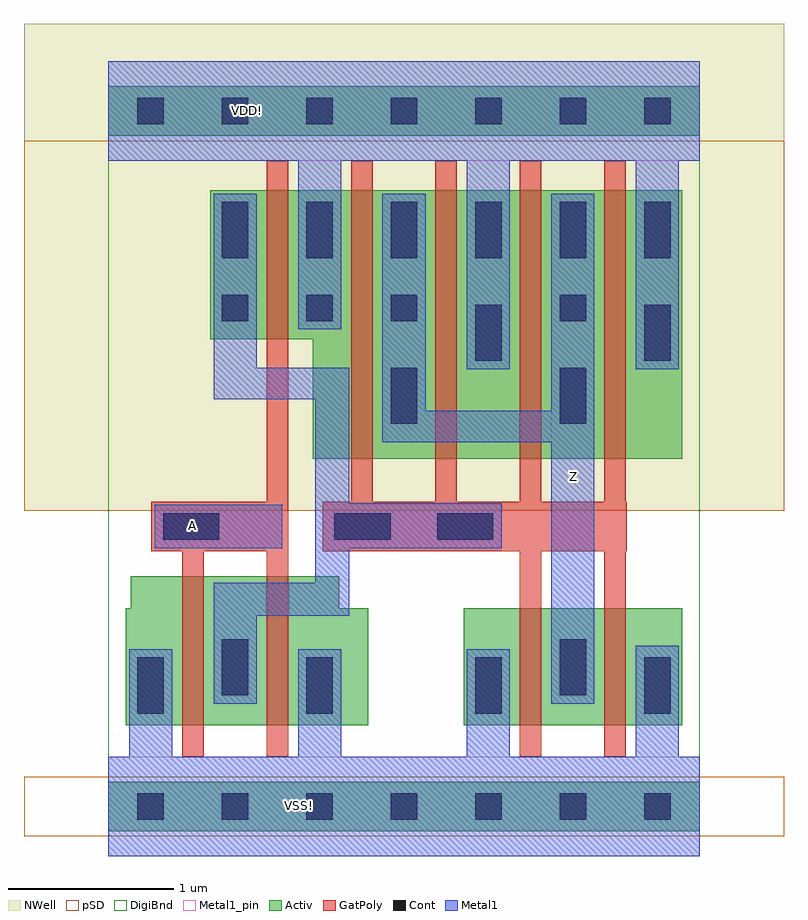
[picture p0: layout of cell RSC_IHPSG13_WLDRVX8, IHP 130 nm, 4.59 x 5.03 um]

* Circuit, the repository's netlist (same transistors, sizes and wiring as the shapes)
************************************************************************
* 
* Copyright 2023 IHP PDK Authors
* 
* Licensed under the Apache License, Version 2.0 (the "License");
* you may not use this file except in compliance with the License.
* You may obtain a copy of the License at
* 
*    https://www.apache.org/licenses/LICENSE-2.0
* 
* Unless required by applicable law or agreed to in writing, software
* distributed under the License is distributed on an "AS IS" BASIS,
* WITHOUT WARRANTIES OR CONDITIONS OF ANY KIND, either express or implied.
* See the License for the specific language governing permissions and
* limitations under the License.
* 
************************************************************************

* Context fixture: selected source subcircuits; boundary name mapped to GDS.
.SUBCKT RSC_IHPSG13_WLDRVX8 A Z VDD VSS
MN1 Z net6 VSS VSS sg13_lv_nmos m=1 w=1.41u l=130.00n ng=2 nrd=0 nrs=0
MN0 net6 A VSS VSS sg13_lv_nmos m=1 w=1.8u l=130.00n ng=2 nrd=0 nrs=0
MP1 Z net6 VDD VDD sg13_lv_pmos m=1 w=6.48u l=130.00n ng=4 nrd=0 nrs=0
MP0 net6 A VDD VDD sg13_lv_pmos m=1 w=900.0n l=130.00n ng=1 nrd=0 nrs=0
.ENDS

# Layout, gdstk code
import gdstk
lib = gdstk.Library(unit=1e-6, precision=1e-09)
def R(c, l, rs):  # rectangles x0, y0, x1, y1
    for r in rs: c.add(gdstk.rectangle(r[:2], r[2:], *l))
def A(c, l, x, y, w, h, nx, ny, dx, dy):  # array of equal rectangles
    R(c, l, [(x+i*dx, y+j*dy, x+i*dx+w, y+j*dy+h) for i in range(nx) for j in range(ny)])
def P(c, l, *ps):  # polygons
    for p in ps: c.add(gdstk.Polygon(p, *l))
Activ = (1, 0)
GatPoly = (5, 0)
Cont = (6, 0)
Metal1 = (8, 0)
Metal1_pin = (8, 2)
pSD = (14, 0)
DigiBnd = (16, 0)
NWell = (31, 0)

rsc_ihpsg13_wldrvx8 = lib.new_cell('RSC_IHPSG13_WLDRVX8')
R(rsc_ihpsg13_wldrvx8, Activ, [(0,-0.15,3.57,0.15), (2.145,0.49,3.465,1.195), (0,4.05,3.57,4.35)])
P(rsc_ihpsg13_wldrvx8, Activ, [(0.105,0.49),(0.105,1.195),(0.135,1.195),(0.135,1.39),(1.395,1.39),(1.395,1.195),(1.57,1.195),(1.57,0.49)],
  [(1.235,2.1),(1.235,2.82),(0.615,2.82),(0.615,3.72),(3.465,3.72),(3.465,2.1)])
P(rsc_ihpsg13_wldrvx8, GatPoly, [(2.485,0.3),(2.485,1.54),(1.295,1.54),(1.295,1.84),(1.465,1.84),(1.465,3.9),(1.595,3.9),(1.595,1.84),(1.975,1.84),(1.975,3.9),(2.105,3.9),(2.105,1.84),(2.485,1.84),(2.485,3.9),(2.615,3.9),(2.615,1.84),(2.995,1.84),(2.995,3.9),(3.125,3.9),(3.125,1.84),(3.13,1.84),(3.13,1.54),(3.125,1.54),(3.125,0.3),(2.995,0.3),(2.995,1.54),(2.615,1.54),(2.615,0.3)],
  [(0.445,0.3),(0.445,1.54),(0.26,1.54),(0.26,1.84),(0.955,1.84),(0.955,3.9),(1.085,3.9),(1.085,0.3),(0.955,0.3),(0.955,1.54),(0.575,1.54),(0.575,0.3)])
A(rsc_ihpsg13_wldrvx8, Cont, 0.175, -0.08, 0.16, 0.16, 7, 2, 0.51, 4.2)
A(rsc_ihpsg13_wldrvx8, Cont, 0.175, 0.56, 0.16, 0.34, 4, 1, 1.02, 0)
A(rsc_ihpsg13_wldrvx8, Cont, 0.685, 2.93, 0.16, 0.16, 3, 1, 0.51, 0)
A(rsc_ihpsg13_wldrvx8, Cont, 0.685, 3.31, 0.16, 0.34, 6, 1, 0.51, 0)
R(rsc_ihpsg13_wldrvx8, Cont, [(0.685,0.67,0.845,1.01), (2.725,0.67,2.885,1.01), (0.33,1.61,0.67,1.77), (1.365,1.61,1.705,1.77), (1.985,1.61,2.325,1.77), (1.705,2.31,1.865,2.65), (2.725,2.31,2.885,2.65), (2.215,2.69,2.375,3.03), (3.235,2.69,3.395,3.03), (2.725,2.93,2.885,3.09)])
R(rsc_ihpsg13_wldrvx8, Metal1, [(2.675,0.62,2.935,1.35), (2.675,1.305,2.935,2.33), (0.28,1.56,1.05,1.82)])
P(rsc_ihpsg13_wldrvx8, Metal1, [(1.655,2.2),(1.655,3.7),(1.915,3.7),(1.915,2.39),(2.675,2.39),(2.675,3.7),(2.935,3.7),(2.935,2.2)],
  [(0,-0.3),(0,0.3),(0.125,0.3),(0.125,0.95),(0.385,0.95),(0.385,0.3),(1.145,0.3),(1.145,0.95),(1.405,0.95),(1.405,0.3),(2.165,0.3),(2.165,0.95),(2.425,0.95),(2.425,0.3),(3.185,0.3),(3.185,0.97),(3.445,0.97),(3.445,0.3),(3.57,0.3),(3.57,-0.3)],
  [(2.165,2.64),(2.165,3.9),(1.405,3.9),(1.405,2.88),(1.145,2.88),(1.145,3.9),(0,3.9),(0,4.5),(3.57,4.5),(3.57,3.9),(3.445,3.9),(3.445,2.64),(3.185,2.64),(3.185,3.9),(2.425,3.9),(2.425,2.64)],
  [(0.635,0.62),(0.635,1.35),(1.25,1.35),(1.25,2.46),(0.635,2.46),(0.635,3.7),(0.895,3.7),(0.895,2.65),(1.455,2.65),(1.455,1.83),(2.375,1.83),(2.375,1.56),(1.455,1.56),(1.455,1.15),(0.895,1.15),(0.895,0.62)])
R(rsc_ihpsg13_wldrvx8, Metal1_pin, [(0,-0.3,3.57,0.3), (2.675,0.62,2.935,3.7), (0.28,1.56,1.05,1.82), (0,3.9,3.57,4.5)])
R(rsc_ihpsg13_wldrvx8, pSD, [(-0.51,-0.18,4.08,0.18), (-0.51,1.785,4.08,4.02)])
R(rsc_ihpsg13_wldrvx8, DigiBnd, [(0,-0.3,3.57,4.5)])
R(rsc_ihpsg13_wldrvx8, NWell, [(-0.51,1.785,4.08,4.725)])
rsc_ihpsg13_wldrvx8.add(gdstk.Label('VSS!', (1.155,0.005), layer=8, texttype=2))
rsc_ihpsg13_wldrvx8.add(gdstk.Label('VDD!', (0.84,4.2), layer=8, texttype=2))
rsc_ihpsg13_wldrvx8.add(gdstk.Label('Z', (2.806,1.995), layer=8, texttype=2))
rsc_ihpsg13_wldrvx8.add(gdstk.Label('A', (0.51,1.695), layer=8, texttype=2))

lib.write_gds('RSC_IHPSG13_WLDRVX8.gds')
